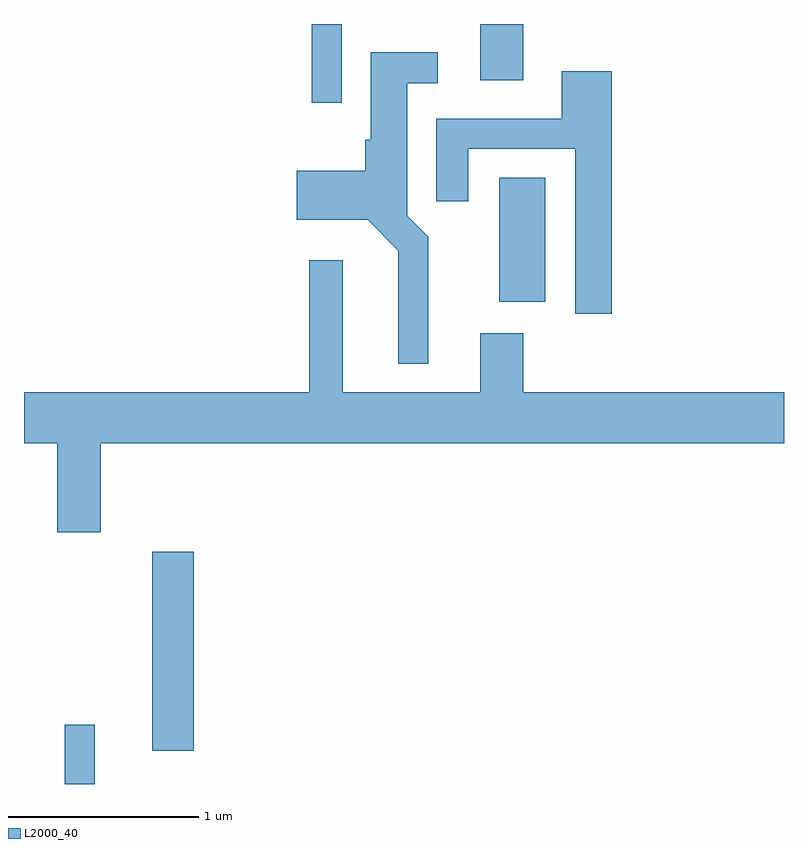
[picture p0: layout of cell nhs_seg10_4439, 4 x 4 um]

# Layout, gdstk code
import gdstk
lib = gdstk.Library(unit=1e-6, precision=1e-09)
def R(c, l, rs):  # rectangles x0, y0, x1, y1
    for r in rs: c.add(gdstk.rectangle(r[:2], r[2:], *l))
def P(c, l, *ps):  # polygons
    for p in ps: c.add(gdstk.Polygon(p, *l))
L2000_40 = (2000, 40)

nhs_seg10_4439 = lib.new_cell('nhs_seg10_4439')
R(nhs_seg10_4439, L2000_40, [(315.826,2156.522,315.984,2156.833), (316.286,2156.696,316.504,2157.744), (318.111,2159.061,318.354,2159.714), (317.126,2160.108,317.284,2160.522), (318.011,2160.226,318.239,2160.522)])
P(nhs_seg10_4439, L2000_40, [(317.739,2159.402),(317.629,2159.512),(317.629,2160.211),(317.788,2160.211),(317.788,2160.374),(317.436,2160.374),(317.436,2159.914),(317.406,2159.914),(317.406,2159.749),(317.046,2159.749),(317.046,2159.491),(317.419,2159.491),(317.581,2159.329),(317.581,2158.733),(317.739,2158.733)],
  [(318.704,2160.274),(318.441,2160.274),(318.441,2160.024),(317.781,2160.024),(317.781,2159.588),(317.949,2159.588),(317.949,2159.866),(318.511,2159.866),(318.511,2158.996),(318.704,2158.996)],
  [(316.014,2158.316),(319.611,2158.316),(319.611,2158.584),(318.239,2158.584),(318.239,2158.894),(318.011,2158.894),(318.011,2158.584),(317.289,2158.584),(317.289,2159.279),(317.111,2159.279),(317.111,2158.584),(315.611,2158.584),(315.611,2158.316),(315.786,2158.316),(315.786,2157.846),(316.014,2157.846)])

lib.write_gds('nhs_seg10_4439.gds')
